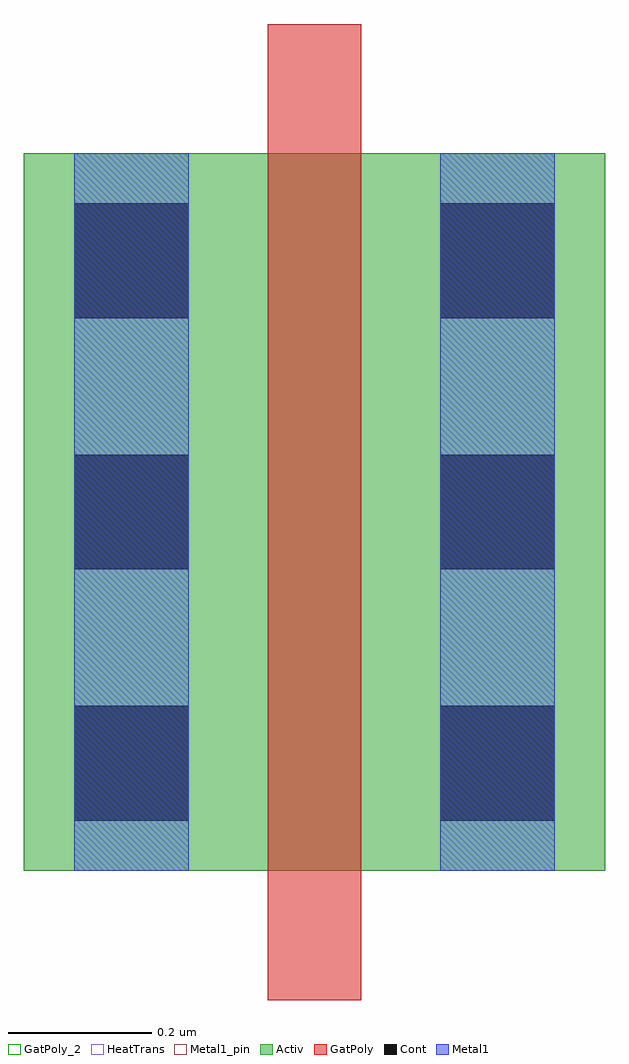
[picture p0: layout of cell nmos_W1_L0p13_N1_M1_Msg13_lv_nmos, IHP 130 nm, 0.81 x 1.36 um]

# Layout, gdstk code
import gdstk
lib = gdstk.Library(unit=1e-6, precision=1e-09)
def R(c, l, rs):  # rectangles x0, y0, x1, y1
    for r in rs: c.add(gdstk.rectangle(r[:2], r[2:], *l))
def A(c, l, x, y, w, h, nx, ny, dx, dy):  # array of equal rectangles
    R(c, l, [(x+i*dx, y+j*dy, x+i*dx+w, y+j*dy+h) for i in range(nx) for j in range(ny)])
Activ = (1, 0)
GatPoly = (5, 0)
GatPoly_2 = (5, 2)
Cont = (6, 0)
Metal1 = (8, 0)
Metal1_pin = (8, 2)
HeatTrans = (51, 0)

nmos_w1_l0p13_n1_m1_msg1 = lib.new_cell('nmos_W1_L0p13_N1_M1_Msg13_lv_nmos')
R(nmos_w1_l0p13_n1_m1_msg1, Activ, [(0,0,0.3,0.3), (0,0,0.81,1), (0.51,0,0.81,0.3)])
R(nmos_w1_l0p13_n1_m1_msg1, GatPoly, [(0.34,-0.18,0.47,1.18)])
R(nmos_w1_l0p13_n1_m1_msg1, GatPoly_2, [(0.34,-0.18,0.47,1.18)])
A(nmos_w1_l0p13_n1_m1_msg1, Cont, 0.07, 0.07, 0.16, 0.16, 1, 3, 0, 0.35)
A(nmos_w1_l0p13_n1_m1_msg1, Cont, 0.58, 0.07, 0.16, 0.16, 1, 3, 0, 0.35)
R(nmos_w1_l0p13_n1_m1_msg1, Metal1, [(0.07,0,0.23,1), (0.58,0,0.74,1)])
R(nmos_w1_l0p13_n1_m1_msg1, Metal1_pin, [(0.07,0,0.23,1), (0.58,0,0.74,1)])
R(nmos_w1_l0p13_n1_m1_msg1, HeatTrans, [(0.34,-0.18,0.47,1.18)])

lib.write_gds('nmos_W1_L0p13_N1_M1_Msg13_lv_nmos.gds')
